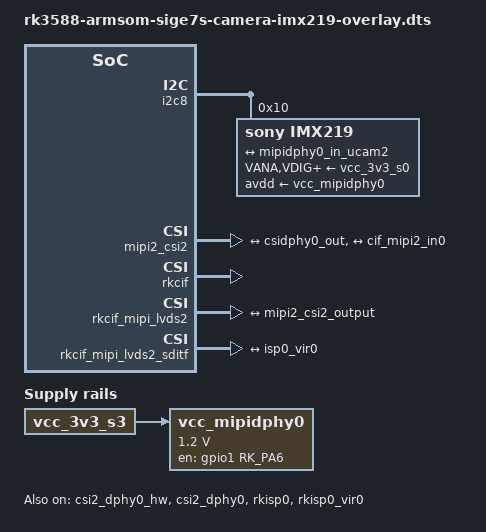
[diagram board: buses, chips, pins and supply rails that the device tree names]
/dts-v1/;
/plugin/;

#include <dt-bindings/gpio/gpio.h>
#include <dt-bindings/pinctrl/rockchip.h>
#include <dt-bindings/clock/rk3588-cru.h>
#include <dt-bindings/power/rk3588-power.h>
/ {
	fragment@0 {
		target-path = "/";
		__overlay__ {
			vcc_mipidphy0: vcc-mipi-dphy0 {
				compatible = "regulator-fixed";
				regulator-name = "vcc_mipidphy0";
				regulator-min-microvolt = <1200000>;
				regulator-max-microvolt = <1200000>;
				gpios = <&gpio1 RK_PA6 GPIO_ACTIVE_HIGH>;
				regulator-always-on;
				regulator-boot-on;
				enable-active-high;
				vin-supply = <&vcc_3v3_s3>;
				regulator-state-mem {
					regulator-off-in-suspend;
				};
			};
		};
	};

	fragment@1 {
		target = <&i2c8>;
		__overlay__ {
			status = "okay";
			pinctrl-names = "default";
			pinctrl-0 = <&i2c8m2_xfer>;
			imx219: imx219@10 {
				compatible = "sony,imx219";
				status = "okay";
				reg = <0x10>;
				#address-cells = <1>;
            	#size-cells = <0>;
				clocks = <&cru CLK_MIPI_CAMARAOUT_M0>;
				clock-names = "xvclk";
				pinctrl-names = "default";
				pinctrl-0 = <&cam_clkout0>;
				VANA-supply = <&vcc_3v3_s0>;   /* 2.8v */
				VDIG-supply = <&vcc_3v3_s0>;   /* 1.8v */
				VDDL-supply = <&vcc_3v3_s0>;   /* 1.2v */
				power-domains = <&power RK3588_PD_VI>;
				avdd-supply = <&vcc_mipidphy0>;
				rockchip,camera-module-index = <1>;//<0>
				rockchip,camera-module-facing =  "front";//"back";
				rockchip,camera-module-name = "GEIR180089";
				rockchip,camera-module-lens-name = "LG500627G";
				port {
					imx219_out: endpoint {
						remote-endpoint = <&mipidphy0_in_ucam2>;
						data-lanes = <1 2>;
						clock-noncontinuous;
						link-frequencies = /bits/ 64 <456000000>;
					};
				};
			};
		};
	};

	fragment@2 {
		target = <&csi2_dphy0_hw>;
		__overlay__ {
			status = "okay";
		};
	};

	fragment@3 {
		target = <&csi2_dphy0>;
		__overlay__ {
			status = "okay";

			ports {
				#address-cells = <1>;
				#size-cells = <0>;
				port@0 {
					reg = <0>;
					#address-cells = <1>;
					#size-cells = <0>;
					
					mipidphy0_in_ucam2: endpoint@3 {
						reg = <3>;
						remote-endpoint = <&imx219_out>;
						data-lanes = <1 2>;
					};
				};
				port@1 {
					reg = <1>;
					#address-cells = <1>;
					#size-cells = <0>;

					csidphy0_out: endpoint@0 {
						reg = <0>;
						remote-endpoint = <&mipi2_csi2_input>;
					};
				};
			};
		};
	};

	fragment@4 {
		target = <&mipi2_csi2>;
		__overlay__ {
			status = "okay";

			ports {
				#address-cells = <1>;
				#size-cells = <0>;

				port@0 {
					reg = <0>;
					#address-cells = <1>;
					#size-cells = <0>;

					mipi2_csi2_input: endpoint@1 {
						reg = <1>;
						remote-endpoint = <&csidphy0_out>;
					};
				};

				port@1 {
					reg = <1>;
					#address-cells = <1>;
					#size-cells = <0>;

					mipi2_csi2_output: endpoint@0 {
						reg = <0>;
						remote-endpoint = <&cif_mipi2_in0>;
					};
				};
			};
		};
	};

	fragment@5 {
		target = <&rkcif>;
		__overlay__ {
			status = "okay";
		};
	};

	fragment@6 {
		target = <&rkcif_mipi_lvds2>;
		__overlay__ {
			status = "okay";

			port {
				cif_mipi2_in0: endpoint {
					remote-endpoint = <&mipi2_csi2_output>;
				};
			};
		};
	};

	fragment@7 {
		target = <&rkcif_mipi_lvds2_sditf>;
		__overlay__ {
			status = "okay";

			port {
				mipi_lvds2_sditf: endpoint {
					remote-endpoint = <&isp0_vir0>;
				};
			};
		};
	};

	fragment@8 {
		target = <&rkcif_mmu>;
		__overlay__ {
			status = "okay";
		};
	};

	fragment@9 {
		target = <&rkisp0>;
		__overlay__ {
			status = "okay";
		};
	};

	fragment@10 {
		target = <&isp0_mmu>;
		__overlay__ {
			status = "okay";
		};
	};

	fragment@11 {
		target = <&rkisp0_vir0>;
		__overlay__ {
			status = "okay";

			port {
				#address-cells = <1>;
				#size-cells = <0>;

				isp0_vir0: endpoint@0 {
					reg = <0>;
					remote-endpoint = <&mipi_lvds2_sditf>;
				};
			};
		};
	};

	fragment@12 {
		target = <&pinctrl>;
		__overlay__ {
			cam {
				cam_clkout0: cam-clkout0 {
					rockchip,pins = <1 RK_PB6 1 &pcfg_pull_none>;
				};
			};
		};
	};
};
